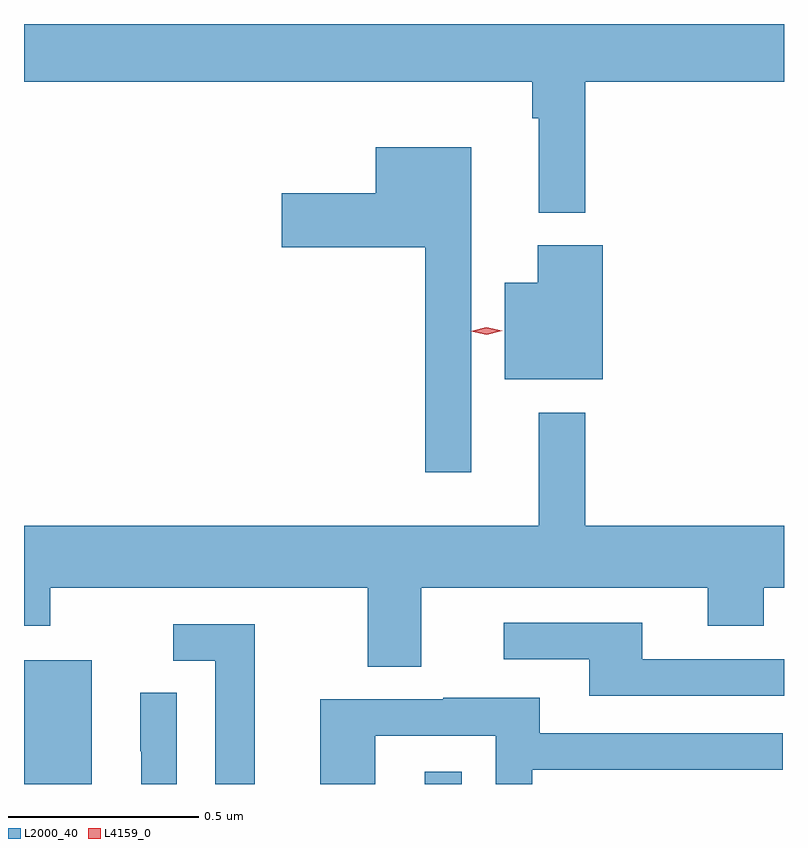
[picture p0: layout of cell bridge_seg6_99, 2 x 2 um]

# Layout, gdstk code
import gdstk
lib = gdstk.Library(unit=1e-6, precision=1e-09)
def R(c, l, rs):  # rectangles x0, y0, x1, y1
    for r in rs: c.add(gdstk.rectangle(r[:2], r[2:], *l))
def P(c, l, *ps):  # polygons
    for p in ps: c.add(gdstk.Polygon(p, *l))
L2000_40 = (2000, 40)
L4159_0 = (4159, 0)

bridge_seg6_99 = lib.new_cell('bridge_seg6_99')
R(bridge_seg6_99, L2000_40, [(627.972,994.772,628.15,995.098), (629.027,994.772,629.124,994.804)])
P(bridge_seg6_99, L2000_40, [(629.449,996.62),(629.972,996.62),(629.972,996.772),(627.972,996.772),(627.972,996.62),(629.31,996.62),(629.31,996.524),(629.327,996.524),(629.327,996.275),(629.449,996.275)],
  [(629.149,996.448),(628.898,996.448),(628.898,996.327),(628.65,996.327),(628.65,996.185),(629.028,996.185),(629.028,995.592),(629.149,995.592)],
  [(629.495,996.19),(629.324,996.19),(629.324,996.091),(629.237,996.091),(629.237,995.837),(629.495,995.837)],
  [(629.017,995.288),(629.771,995.288),(629.771,995.189),(629.919,995.189),(629.919,995.288),(629.972,995.288),(629.972,995.452),(629.449,995.452),(629.449,995.749),(629.327,995.749),(629.327,995.452),(627.972,995.452),(627.972,995.189),(628.041,995.189),(628.041,995.288),(628.877,995.288),(628.877,995.08),(629.017,995.08)],
  [(629.972,995.1),(629.599,995.1),(629.599,995.196),(629.235,995.196),(629.235,995.1),(629.459,995.1),(629.459,995.004),(629.972,995.004)],
  [(628.579,995.193),(628.365,995.193),(628.365,995.097),(628.475,995.097),(628.475,994.772),(628.579,994.772)],
  [(628.374,995.012),(628.278,995.012),(628.278,994.858),(628.28,994.858),(628.28,994.772),(628.374,994.772)],
  [(628.896,994.899),(629.214,994.899),(629.214,994.772),(629.31,994.772),(629.31,994.809),(629.969,994.809),(629.969,994.905),(629.329,994.905),(629.329,994.999),(629.075,994.999),(629.075,994.995),(628.751,994.995),(628.751,994.772),(628.896,994.772)])
P(bridge_seg6_99, L4159_0, [(629.19,995.954),(629.148,995.963),(629.148,995.963),(629.148,995.963),(629.189,995.974),(629.23,995.965),(629.23,995.965),(629.23,995.965)])

lib.write_gds('bridge_seg6_99.gds')
